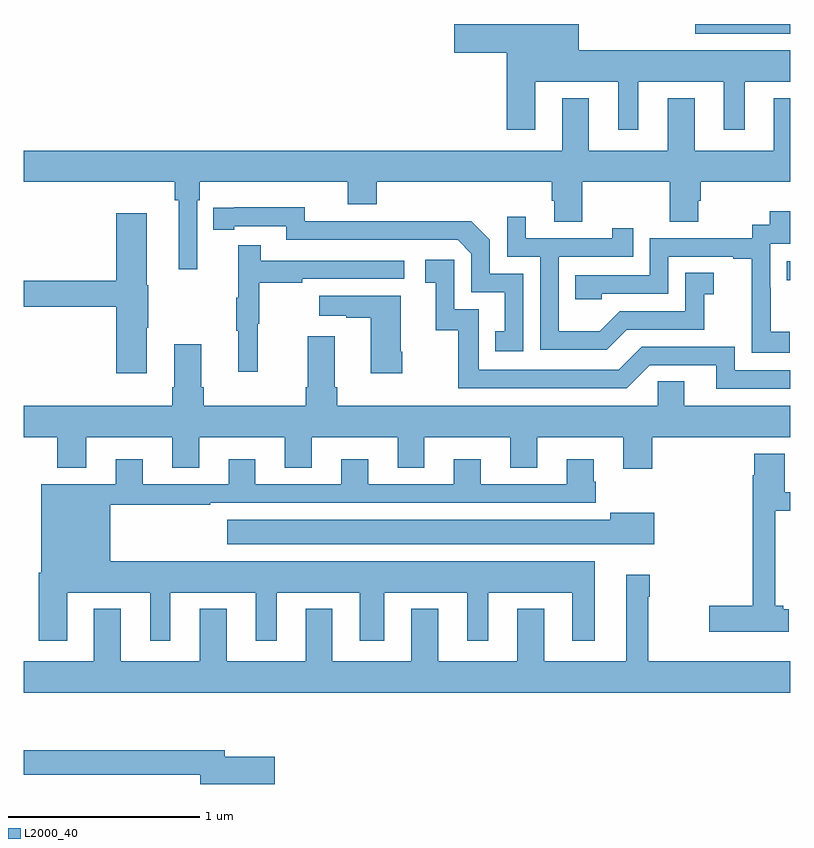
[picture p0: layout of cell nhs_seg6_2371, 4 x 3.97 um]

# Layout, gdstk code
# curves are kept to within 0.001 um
import gdstk
lib = gdstk.Library(unit=1e-6, precision=1e-09)
def R(c, l, rs):  # rectangles x0, y0, x1, y1
    for r in rs: c.add(gdstk.rectangle(r[:2], r[2:], *l))
def P(c, l, *ps):  # polygons
    for p in ps: c.add(gdstk.Polygon(p, *l))
L2000_40 = (2000, 40)

nhs_seg6_2371 = lib.new_cell('nhs_seg6_2371')
R(nhs_seg6_2371, L2000_40, [(256.981,940.162,257,940.263), (256.503,941.45,257,941.5)])
P(nhs_seg6_2371, L2000_40, [(255.67,941.198),(256.103,941.198),(256.103,940.947),(256.207,940.947),(256.207,941.198),(256.652,941.198),(256.652,940.947),(256.762,940.947),(256.762,941.198),(257,941.198),(257,941.362),(255.895,941.362),(255.895,941.5),(255.533,941.5),(255.533,941.498),(255.246,941.498),(255.246,941.351),(255.521,941.351),(255.521,940.947),(255.67,940.947)],
  [(253.905,940.58),(253.919,940.58),(253.919,940.676),(254.69,940.676),(254.69,940.559),(254.843,940.559),(254.843,940.676),(255.755,940.676),(255.755,940.578),(255.767,940.578),(255.767,940.468),(255.915,940.468),(255.915,940.676),(256.372,940.676),(256.372,940.468),(256.519,940.468),(256.519,940.578),(256.532,940.578),(256.532,940.676),(257,940.676),(257,941.113),(256.913,941.113),(256.913,940.84),(256.501,940.84),(256.501,941.113),(256.361,941.113),(256.361,940.84),(255.949,940.84),(255.949,941.113),(255.809,941.113),(255.809,940.84),(253,940.84),(253,940.676),(253.789,940.676),(253.789,940.58),(253.808,940.58),(253.808,940.221),(253.905,940.221)],
  [(255.606,940.197),(255.432,940.197),(255.432,940.374),(255.334,940.472),(254.926,940.472),(254.926,940.47),(254.466,940.47),(254.466,940.543),(253.99,940.542),(253.99,940.426),(254.098,940.426),(254.098,940.446),(254.37,940.446),(254.37,940.374),(255.264,940.374),(255.336,940.302),(255.336,940.101),(255.509,940.101),(255.509,939.897),(255.46,939.897),(255.46,939.792),(255.606,939.792)],
  [(256.996,939.895),(256.898,939.895),(256.898,940.124),(256.896,940.124),(256.896,940.353),(257,940.353),(257,940.522),(256.892,940.522),(256.892,940.452),(256.8,940.452),(256.8,940.383),(256.266,940.383),(256.266,940.188),(255.877,940.188),(255.877,940.065),(256.017,940.065),(256.017,940.092),(256.362,940.092),(256.362,940.287),(256.703,940.287),(256.703,940.275),(256.799,940.275),(256.799,939.991),(256.798,939.991),(256.798,939.785),(256.996,939.785)],
  [(253.642,939.916),(253.65,939.916),(253.65,940.137),(253.642,940.137),(253.642,940.513),(253.484,940.513),(253.484,940.16),(253,940.16),(253,940.024),(253.484,940.024),(253.484,939.678),(253.642,939.678)],
  [(256.147,939.906),(256.551,939.906),(256.551,940.091),(256.6,940.091),(256.6,940.201),(256.452,940.201),(256.452,940.002),(256.11,940.002),(256.006,939.898),(255.792,939.898),(255.792,940.287),(256.181,940.287),(256.181,940.435),(256.07,940.435),(256.07,940.383),(255.619,940.383),(255.619,940.495),(255.522,940.495),(255.522,940.287),(255.696,940.287),(255.696,939.801),(256.042,939.801)],
  [(254.222,939.936),(254.23,939.936),(254.23,940.15),(254.453,940.15),(254.453,940.17),(254.986,940.17),(254.986,940.266),(254.237,940.266),(254.237,940.345),(254.12,940.345),(254.12,940.073),(254.109,940.073),(254.109,939.899),(254.12,939.899),(254.12,939.687),(254.222,939.687)],
  [(257,939.693),(256.71,939.693),(256.71,939.816),(256.224,939.816),(256.104,939.696),(255.375,939.696),(255.375,940.011),(255.246,940.011),(255.246,940.27),(255.096,940.27),(255.096,940.149),(255.149,940.149),(255.149,939.903),(255.267,939.903),(255.267,939.6),(256.146,939.6),(256.266,939.72),(256.613,939.72),(256.613,939.597),(257,939.597)],
  [(254.976,939.79),(254.968,939.79),(254.968,940.081),(254.541,940.081),(254.541,939.977),(254.684,939.977),(254.684,939.967),(254.81,939.967),(254.81,939.678),(254.976,939.678)],
  [(256.279,939.344),(257,939.344),(257,939.508),(256.447,939.508),(256.447,939.635),(256.308,939.635),(256.308,939.508),(254.636,939.508),(254.636,939.604),(254.623,939.604),(254.623,939.871),(254.483,939.871),(254.483,939.604),(254.471,939.604),(254.471,939.508),(253.94,939.508),(253.94,939.604),(253.927,939.604),(253.927,939.829),(253.787,939.829),(253.787,939.604),(253.775,939.604),(253.775,939.508),(253,939.508),(253,939.344),(253.175,939.344),(253.175,939.185),(253.327,939.185),(253.327,939.344),(253.775,939.344),(253.775,939.184),(253.915,939.184),(253.915,939.344),(254.363,939.344),(254.363,939.184),(254.503,939.184),(254.503,939.344),(254.951,939.344),(254.951,939.184),(255.091,939.184),(255.091,939.344),(255.539,939.344),(255.539,939.184),(255.679,939.184),(255.679,939.344),(256.127,939.344),(256.127,939.18),(256.279,939.18)],
  [(256.991,938.447),(256.962,938.447),(256.962,938.466),(256.92,938.466),(256.92,938.961),(257,938.961),(257,939.057),(256.972,939.057),(256.972,939.259),(256.811,939.259),(256.811,939.146),(256.804,939.146),(256.804,938.465),(256.578,938.465),(256.578,938.33),(256.991,938.33)],
  [(253.228,938.534),(253.661,938.534),(253.661,938.283),(253.765,938.283),(253.765,938.534),(254.21,938.534),(254.21,938.283),(254.32,938.283),(254.32,938.534),(254.753,938.534),(254.753,938.283),(254.881,938.283),(254.881,938.534),(255.314,938.534),(255.314,938.283),(255.424,938.283),(255.424,938.534),(255.863,938.534),(255.863,938.283),(255.979,938.283),(255.979,938.698),(253.453,938.698),(253.453,938.991),(253.973,938.991),(253.973,939.003),(255.986,939.003),(255.986,939.111),(255.973,939.111),(255.973,939.229),(255.833,939.229),(255.833,939.099),(255.385,939.099),(255.385,939.229),(255.245,939.229),(255.245,939.099),(254.797,939.099),(254.797,939.229),(254.657,939.229),(254.657,939.099),(254.209,939.099),(254.209,939.229),(254.069,939.229),(254.069,939.099),(253.621,939.099),(253.621,939.229),(253.481,939.229),(253.481,939.1),(253.091,939.1),(253.091,938.638),(253.079,938.638),(253.079,938.283),(253.228,938.283)],
  [(256.291,938.95),(256.061,938.95),(256.061,938.914),(254.061,938.914),(254.061,938.786),(256.291,938.786)],
  [(257,938.176),(256.259,938.176),(256.259,938.513),(256.267,938.513),(256.267,938.626),(256.145,938.626),(256.145,938.176),(255.715,938.176),(255.715,938.449),(255.575,938.449),(255.575,938.176),(255.163,938.176),(255.163,938.449),(255.023,938.449),(255.023,938.176),(254.611,938.176),(254.611,938.449),(254.471,938.449),(254.471,938.176),(254.059,938.176),(254.059,938.449),(253.919,938.449),(253.919,938.176),(253.507,938.176),(253.507,938.449),(253.367,938.449),(253.367,938.176),(253,938.176),(253,938.012),(257,938.012)],
  [(254.311,937.677),(254.05,937.677),(254.05,937.711),(253,937.711),(253,937.582),(253.922,937.582),(253.922,937.535),(254.311,937.535)])

lib.write_gds('nhs_seg6_2371.gds')
